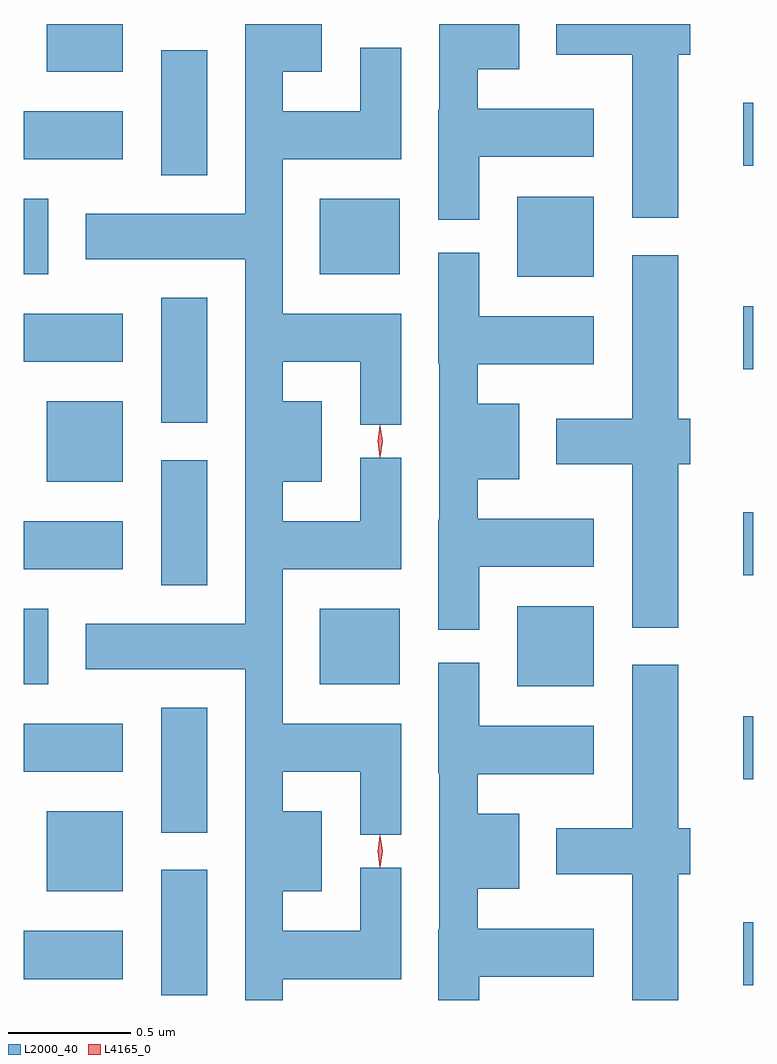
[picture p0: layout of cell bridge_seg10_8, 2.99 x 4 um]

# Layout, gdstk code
import gdstk
lib = gdstk.Library(unit=1e-6, precision=1e-09)
def R(c, l, rs):  # rectangles x0, y0, x1, y1
    for r in rs: c.add(gdstk.rectangle(r[:2], r[2:], *l))
def P(c, l, *ps):  # polygons
    for p in ps: c.add(gdstk.Polygon(p, *l))
L2000_40 = (2000, 40)
L4165_0 = (4165, 0)

bridge_seg10_8 = lib.new_cell('bridge_seg10_8')
R(bridge_seg10_8, L2000_40, [(1911.896,2170.261,1912.084,2170.774), (1914.281,2170.301,1914.323,2170.559), (1911.332,2170.326,1911.739,2170.524), (1911.426,2170.686,1911.739,2171.014), (1911.896,2170.926,1912.084,2171.439), (1914.281,2171.146,1914.323,2171.404), (1911.332,2171.176,1911.739,2171.374), (1913.356,2171.526,1913.669,2171.854), (1911.332,2171.536,1911.434,2171.844), (1912.546,2171.536,1912.874,2171.844), (1911.896,2171.941,1912.084,2172.454), (1914.281,2171.981,1914.323,2172.239), (1911.332,2172.006,1911.739,2172.204), (1911.426,2172.366,1911.739,2172.694), (1911.896,2172.606,1912.084,2173.119), (1914.281,2172.826,1914.323,2173.084), (1911.332,2172.856,1911.739,2173.054), (1913.356,2173.206,1913.669,2173.534), (1911.332,2173.216,1911.434,2173.524), (1912.546,2173.216,1912.874,2173.524), (1911.896,2173.621,1912.084,2174.134), (1914.281,2173.661,1914.323,2173.919), (1911.332,2173.686,1911.739,2173.884), (1911.426,2174.046,1911.739,2174.241)])
P(bridge_seg10_8, L2000_40, [(1912.394,2170.326),(1912.879,2170.326),(1912.879,2170.783),(1912.711,2170.783),(1912.711,2170.524),(1912.394,2170.524),(1912.394,2170.686),(1912.554,2170.686),(1912.554,2171.014),(1912.394,2171.014),(1912.394,2171.176),(1912.711,2171.176),(1912.711,2170.918),(1912.879,2170.918),(1912.879,2171.374),(1912.394,2171.374),(1912.394,2172.006),(1912.879,2172.006),(1912.879,2172.463),(1912.711,2172.463),(1912.711,2172.204),(1912.394,2172.204),(1912.394,2172.366),(1912.554,2172.366),(1912.554,2172.694),(1912.394,2172.694),(1912.394,2172.856),(1912.711,2172.856),(1912.711,2172.598),(1912.879,2172.598),(1912.879,2173.054),(1912.394,2173.054),(1912.394,2173.686),(1912.879,2173.686),(1912.879,2174.143),(1912.711,2174.143),(1912.711,2173.884),(1912.394,2173.884),(1912.394,2174.046),(1912.554,2174.046),(1912.554,2174.241),(1912.241,2174.241),(1912.241,2173.464),(1911.586,2173.464),(1911.586,2173.276),(1912.241,2173.276),(1912.241,2171.784),(1911.586,2171.784),(1911.586,2171.596),(1912.241,2171.596),(1912.241,2170.241),(1912.394,2170.241)],
  [(1913.199,2173.696),(1913.669,2173.696),(1913.669,2173.894),(1913.194,2173.894),(1913.194,2174.056),(1913.364,2174.056),(1913.364,2174.241),(1913.036,2174.241),(1913.036,2173.89),(1913.031,2173.89),(1913.031,2173.438),(1913.199,2173.438)],
  [(1914.014,2174.116),(1914.064,2174.116),(1914.064,2174.241),(1913.516,2174.241),(1913.516,2174.116),(1913.826,2174.116),(1913.826,2173.446),(1914.014,2173.446)],
  [(1913.199,2172.016),(1913.669,2172.016),(1913.669,2172.214),(1913.194,2172.214),(1913.194,2172.376),(1913.364,2172.376),(1913.364,2172.684),(1913.194,2172.684),(1913.194,2172.846),(1913.669,2172.846),(1913.669,2173.044),(1913.199,2173.044),(1913.199,2173.303),(1913.031,2173.303),(1913.031,2172.85),(1913.036,2172.85),(1913.036,2172.21),(1913.031,2172.21),(1913.031,2171.758),(1913.199,2171.758)],
  [(1914.014,2172.436),(1914.064,2172.436),(1914.064,2172.624),(1914.014,2172.624),(1914.014,2173.294),(1913.826,2173.294),(1913.826,2172.624),(1913.516,2172.624),(1913.516,2172.436),(1913.826,2172.436),(1913.826,2171.766),(1914.014,2171.766)],
  [(1913.199,2170.336),(1913.669,2170.336),(1913.669,2170.534),(1913.194,2170.534),(1913.194,2170.696),(1913.364,2170.696),(1913.364,2171.004),(1913.194,2171.004),(1913.194,2171.166),(1913.669,2171.166),(1913.669,2171.364),(1913.199,2171.364),(1913.199,2171.623),(1913.031,2171.623),(1913.031,2171.17),(1913.036,2171.17),(1913.036,2170.53),(1913.031,2170.53),(1913.031,2170.241),(1913.199,2170.241)],
  [(1914.014,2170.756),(1914.064,2170.756),(1914.064,2170.944),(1914.014,2170.944),(1914.014,2171.614),(1913.826,2171.614),(1913.826,2170.944),(1913.516,2170.944),(1913.516,2170.756),(1913.826,2170.756),(1913.826,2170.241),(1914.014,2170.241)])
P(bridge_seg10_8, L4165_0, [(1912.793,2170.784),(1912.792,2170.785),(1912.783,2170.85),(1912.792,2170.915),(1912.793,2170.916),(1912.793,2170.915),(1912.803,2170.85),(1912.793,2170.785)],
  [(1912.793,2172.464),(1912.792,2172.465),(1912.783,2172.53),(1912.792,2172.595),(1912.793,2172.596),(1912.793,2172.595),(1912.803,2172.53),(1912.793,2172.465)])

lib.write_gds('bridge_seg10_8.gds')
